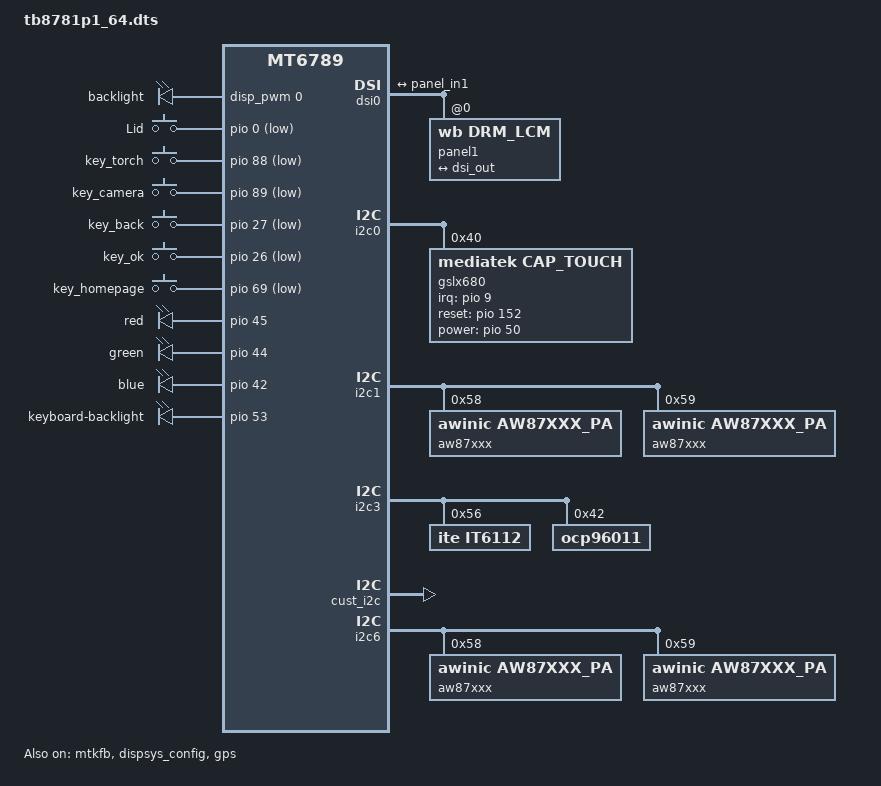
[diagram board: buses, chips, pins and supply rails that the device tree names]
// SPDX-License-Identifier: (GPL-2.0 OR MIT)
/*
 * Copyright (C) 2021 MediaTek Inc.
 */
/dts-v1/;
/plugin/;
#include <dt-bindings/interrupt-controller/arm-gic.h>
#include <dt-bindings/interrupt-controller/irq.h>
#include <dt-bindings/pinctrl/mt6789-pinfunc.h>
#include "mediatek/M307TBUR100/cust_mt6789_camera.dtsi"
#include <dt-bindings/gpio/gpio.h>
#include <dt-bindings/input/input.h>
#include <generated/wb_config.h>
#include <generated/autoconf.h>
#include "mediatek/bat_setting/wb_mt6789_battery_common.dtsi"
#include "mediatek/lcd/1_wb_lcd_panel_list.dtsi"

&chosen {
};

&android {
	hardware = "mt8781";
};

&mtk_leds {
	compatible = "mediatek,pwm-leds";

	backlight {
		led_mode = <5>;
		gate_enable = <1>;
        pwms = <&disp_pwm 0 39385>;
		pwm_config = <0 1 0 0 0>;
	};
};

&pio {
	mtkfb_pins_lcd_bias_enp1: lcd_bias_enp1_gpio {
		pins_cmd_dat {
			pinmux = <PINMUX_GPIO38__FUNC_GPIO38>;
			slew-rate = <1>;
			output-high;
		};
	};

	mtkfb_pins_lcd_bias_enp0: lcd_bias_enp0_gpio {
		pins_cmd_dat {
			pinmux = <PINMUX_GPIO38__FUNC_GPIO38>;
			slew-rate = <1>;
			output-low;
		};
	};

	mtkfb_pins_lcd_bias_enn1: lcd_bias_enn1_gpio {
		pins_cmd_dat {
			pinmux = <PINMUX_GPIO39__FUNC_GPIO39>;
			slew-rate = <1>;
			output-high;
		};
	};

	mtkfb_pins_lcd_bias_enn0: lcd_bias_enn0_gpio {
		pins_cmd_dat {
			pinmux = <PINMUX_GPIO39__FUNC_GPIO39>;
			slew-rate = <1>;
			output-low;
		};
	};

	mtkfb_pins_lcm_led_en1: lcm_led_en1_gpio {
		pins_cmd_dat {
			pinmux = <PINMUX_GPIO12__FUNC_GPIO12>;
			slew-rate = <1>;
			output-high;
		};
	};

	mtkfb_pins_lcm_led_en0: lcm_led_en0_gpio {
		pins_cmd_dat {
			pinmux = <PINMUX_GPIO12__FUNC_GPIO12>;
			slew-rate = <1>;
			output-low;
		};
	};

	mtkfb_pins_lcm_rst_out1_gpio: lcm_rst_out1_gpio {
		pins_cmd_dat {
			pinmux = <PINMUX_GPIO85__FUNC_GPIO85>;
			slew-rate = <1>;
			output-high;
		};
	};

	mtkfb_pins_lcm_rst_out0_gpio: lcm_rst_out0_gpio {
		pins_cmd_dat {
			pinmux = <PINMUX_GPIO85__FUNC_GPIO85>;
			slew-rate = <1>;
			output-low;
		};
	};
	mtkfb_pins_lcm_dsi_te: lcm_dsi_te {
		pins_cmd_dat {
			pinmux = <PINMUX_GPIO83__FUNC_DSI_TE>;
		};
	};
	mtkfb_pins_lcd_pwr_1v8_en: lcd_pwr_1v8_en_gpio {
		pins_cmd_dat {
			pinmux = <PINMUX_GPIO52__FUNC_GPIO52>;
		};
	};
	mtkfb_pins_lcd_pwr_3v3_en: lcd_pwr_3v3_en_gpio {
		/*pins_cmd_dat {
			pinmux = <PINMUX_GPIO51__FUNC_GPIO51>;
		};*/
	};    

	mtkfb_pins_tp_rst_gpio: tp_rst_gpio {
		pins_cmd_dat {
			pinmux = <PINMUX_GPIO152__FUNC_GPIO152>;
		};
	};    
};

&mtkfb {
	pinctrl-names = "lcd_bias_enp1_gpio", "lcd_bias_enp0_gpio",
		"lcd_bias_enn1_gpio", "lcd_bias_enn0_gpio",
        	"lcm_led_en1_gpio", "lcm_led_en0_gpio",
		"lcm_rst_out1_gpio", "lcm_rst_out0_gpio",
		"mode_te_te","lcd_pwr_1v8_en_gpio","lcd_pwr_3v3_en_gpio",
        	"tp_rst_gpio";
	pinctrl-0 = <&mtkfb_pins_lcd_bias_enp1>;
	pinctrl-1 = <&mtkfb_pins_lcd_bias_enp0>;
	pinctrl-2 = <&mtkfb_pins_lcd_bias_enn1>;
	pinctrl-3 = <&mtkfb_pins_lcd_bias_enn0>;        
	pinctrl-4 = <&mtkfb_pins_lcm_led_en1>;
	pinctrl-5 = <&mtkfb_pins_lcm_led_en0>;
	pinctrl-6 = <&mtkfb_pins_lcm_rst_out1_gpio>;
	pinctrl-7 = <&mtkfb_pins_lcm_rst_out0_gpio>;
	pinctrl-8 = <&mtkfb_pins_lcm_dsi_te>;
	pinctrl-9 = <&mtkfb_pins_lcd_pwr_1v8_en>;
	pinctrl-10 = <&mtkfb_pins_lcd_pwr_3v3_en>;
	pinctrl-11 = <&mtkfb_pins_tp_rst_gpio>;
	status = "okay";
};

&dispsys_config {
	pinctrl-names =
		"lcm_rst_out1_gpio", "lcm_rst_out0_gpio",
		"mode_te_te";
	pinctrl-0 = <&mtkfb_pins_lcm_rst_out1_gpio>;
	pinctrl-1 = <&mtkfb_pins_lcm_rst_out0_gpio>;
	pinctrl-2 = <&mtkfb_pins_lcm_dsi_te>;
	status = "okay";
};

&dsi0 {
	status = "okay";
	#address-cells = <1>;
	#size-cells = <0>;
	panel1@0 {
		compatible = "wb,drm_lcm";
		reg = <0>;
		pinctrl-names = "default";
		//rotation = <90>;
		port {
			panel_in1: endpoint {
				remote-endpoint = <&dsi_out>;
			};
		};
	};
	
	ports {
		port {
			dsi_out: endpoint {
				remote-endpoint = <&panel_in1>;
			};
		};
	};
};

&odm {
	gpio_keys: gpio-keys{
		compatible = "gpio-keys";
		bootmode = <&chosen>;
		lid {
			label = "Lid";
			gpios = <&pio 0 GPIO_ACTIVE_LOW>;
			linux,code = <SW_LID>;
			linux,input-type = <EV_SW>;
			gpio-key,wakeup;
		};

		torch {
			label = "key_torch";
			gpios = <&pio 88 GPIO_ACTIVE_LOW>;
			linux,code = <KEY_F1>;
			linux,input-type = <EV_KEY>;
			gpio-key,wakeup;
		};
		camera {
			label = "key_camera";
			gpios = <&pio 89 GPIO_ACTIVE_LOW>;
			linux,code = <KEY_CAMERA>;
			linux,input-type = <EV_KEY>;
			gpio-key,wakeup;
		};
		back {
			label = "key_back";
			gpios = <&pio 27 GPIO_ACTIVE_LOW>;
			linux,code = <KEY_BACK>;
			linux,input-type = <EV_KEY>;
			gpio-key,wakeup;
		};
		ok {
			label = "key_ok";
			gpios = <&pio 26 GPIO_ACTIVE_LOW>;
			linux,code = <KEY_ENTER>;
			linux,input-type = <EV_KEY>;
			gpio-key,wakeup;
		};

		homepage {
			label = "key_homepage";
			gpios = <&pio 69 GPIO_ACTIVE_LOW>;
			linux,code = <KEY_HOMEPAGE>;
			linux,input-type = <EV_KEY>;
			debounce-interval = <0>;
			gpio-key,wakeup;
		};

	};
};

/* GPS GPIO standardization start */
&pio {
	gps_pins_default: gps_default {
	};
	gps_l1_lna_pins_ol: gps_l1_lna@0 {
		pins_cmd_dat {
			pinmux = <PINMUX_GPIO25__FUNC_GPIO25>;
			output-low;
		};
	};
	gps_l1_lna_pins_dsp_ctrl: gps_l1_lna@1 {
		pins_cmd_dat {
			pinmux = <PINMUX_GPIO25__FUNC_GPS_L1_ELNA_EN>;
		};
	};
	gps_l1_lna_pins_oh: gps_l1_lna@2 {
		pins_cmd_dat {
			pinmux = <PINMUX_GPIO25__FUNC_GPIO25>;
			output-high;
		};
	};
	gps_l5_lna_pins_ol: gps_l5_lna@0 {
		pins_cmd_dat {
			pinmux = <PINMUX_GPIO26__FUNC_GPIO26>;
			output-low;
		};
	};
	gps_l5_lna_pins_dsp_ctrl: gps_l5_lna@1 {
		pins_cmd_dat {
			pinmux = <PINMUX_GPIO26__FUNC_GPS_L5_ELNA_EN>;
		};
	};
	gps_l5_lna_pins_oh: gps_l5_lna@2 {
		pins_cmd_dat {
			pinmux = <PINMUX_GPIO26__FUNC_GPIO26>;
			output-high;
		};
	};
};

&extcon_usb {
	pinctrl-names = "default";
	pinctrl-0 = <&docking_eint_default>;
	docking_eint_gpio = <&pio 10 0x0>;
	interrupt-parent = <&pio>;
	interrupts = <10 IRQ_TYPE_LEVEL_LOW 10 0>;
	charger = <&upm6920_chg>;
	id-gpios = <&pio 43 0x0>;
};

&pio {
	docking_eint_default: docking_eint_default {
		pins_cmd_dat {
			pinmux = <PINMUX_GPIO10__FUNC_GPIO10>;
			slew-rate = <0>;
			bias-pull-up;
		};
	};
};

&cust_gpios {
	compatible = "cust,cust_gpios";
	gpio_it6112_en = <&pio 37 0>;
	gpio_bias_pos = <&pio 34 0>;
	gpio_bias_neg = <&pio 35 0>;
	gpio_lcm_1v8 = <&pio 52 0>;
	gpio_lcm_3v3 = <&pio 51 0>;
	gpio_lcm_rst = <&pio 85 0>;
	//gpio_tp_rst  = <&pio 152 0>;
	gpio_typec_otg_en   = <&pio 97 0>;
	gpio_otg_5v_en      = <&pio 36 0>;
	//gpio_docking_en     = <&pio 34 0>;
	gpio_usb_switch     = <&pio 47 0>;
	gpio_cutoff_vbus = <&pio 49 0>;
	//gpio_auhpr_spk_sw   = <&pio 15 0>;
	//gpio_usb_hp_sw      = <&pio 53 0>;
	status = "okay";
};

&gps {
	pinctrl-names = "default",
		"gps_l1_lna_disable",
		"gps_l1_lna_dsp_ctrl",
		"gps_l1_lna_enable",
		"gps_l5_lna_disable",
		"gps_l5_lna_dsp_ctrl",
		"gps_l5_lna_enable";
	pinctrl-0 = <&gps_pins_default>;
	pinctrl-1 = <&gps_l1_lna_pins_ol>;
	pinctrl-2 = <&gps_l1_lna_pins_dsp_ctrl>;
	pinctrl-3 = <&gps_l1_lna_pins_oh>;
	pinctrl-4 = <&gps_l5_lna_pins_ol>;
	pinctrl-5 = <&gps_l5_lna_pins_dsp_ctrl>;
	pinctrl-6 = <&gps_l5_lna_pins_oh>;
	status = "okay";
};
/* GPS GPIO standardization end */

//#include "mediatek/M307TBUR100/gt9xx_dts.dtsi"
&i2c0 {
	//focaltech@38{ 
	//    pinctrl-names = "i2c0_pull_down", "i2c0_pull_up";
	//    pinctrl-0 = <&i2c0_pull_down_ctrl>;
	//    pinctrl-1 = <&i2c0_pull_up_ctrl>;
	//    compatible = "focaltech,fts";
	//    reg = <0x38>;
	//    interrupt-parent = <&pio>;
	//    interrupts = <9 IRQ_TYPE_EDGE_FALLING 9 0>;
	//    focaltech,reset-gpio = <&pio 152 0>; 
	//    focaltech,irq-gpio = <&pio 9 IRQ_TYPE_EDGE_FALLING>;
	//    focaltech,max-touch-number = <10>;
	//    focaltech,display-coords =  <0 0 1200 2000>;
	//};
	//
	//jadard@68{
	//    compatible = "jadard,jdcommon";
	//    reg = <0x68>;
	//    interrupt-parent = <&pio>;
	//    interrupts = <9 IRQ_TYPE_EDGE_FALLING 9 0>;
	//    jadard,panel-sense-nums = <30 48>;
	//    jadard,panel-coords = <0 1200 0 2000>;
	//    jadard,panel-max-points = <10>;
	//    jadard,int-is-edge = <1>;
	//    jadard,irq-gpio = <&pio 9 0>;
	//    jadard,rst-gpio = <&pio 152 0>;
	//};

	gslx680@68{
		compatible = "mediatek,cap_touch";
		reg = <0x40>;
		gsl,irq-gpios = <&pio 9 0>;
		gsl,reset-gpios = <&pio 152 0>;
		gsl,power-gpios = <&pio 50 0>;
	};
#if 0
	himax_ts@48 {
	        compatible = "himax,hxcommon";
	        reg = <0x48>;
	        //himax,3v3-gpio = <&pio 174 0>;
	        himax,rst-gpio = <&pio 152 0>;
	        himax,irq-gpio = <&pio 9 0>;
	        himax,panel-coords = <0 1200 0 2000>;
	        himax,display-coords = <0 1200 0 2000>;
	        report_type = <1>;
	};
#endif
	//lt8911exb@25 {
	//    compatible = "mediatek,lt8911exb_com";
	//    reg = <0x25>;
	//    status = "okay";
	//};
	//
	//chipone_tddi_i2c@48 {
	//   compatible = "chipone,cts";
	//   reg = <0x48>;
	//   status = "ok";
	//   chipone,rst-gpio = <&pio 152 0x00>;
	//   chipone,irq-gpio = <&pio 9 0x00>;
	//   chipone,x-res = <1200>;
	//   chipone,y-res = <1920>;
	//};

};

&pio {
    i2c0_pull_down_ctrl: i2c0_pull_down_ctrl {
    pins_cmd_dat {
            pinmux = <PINMUX_GPIO130__FUNC_SCL0>,
                        <PINMUX_GPIO131__FUNC_SDA0>;
            slew-rate = <0>;
            bias-pull-down;
        };
    };

    i2c0_pull_up_ctrl: i2c0_pull_up_ctrl {
        pins_cmd_dat {
            pinmux = <PINMUX_GPIO130__FUNC_SCL0>,
                        <PINMUX_GPIO131__FUNC_SDA0>;
            slew-rate = <0>;
            bias-pull-up;
        };
    };
};

&i2c1 {
    aw87xxx@58 {
        compatible = "awinic,aw87xxx_pa";
        reg = <0x58>;
        dev_index = <0>;
        status = "okay";
    }; 
    aw87xxx@59 {
        compatible = "awinic,aw87xxx_pa";
        reg = <0x59>;
        dev_index = <3>;
        status = "okay";
    };
};

&i2c3 {
	it6112@56 {
		compatible = "ite,it6112";
		reg = <0x56>;
		status = "okay";
	};

	ocp96011@42 {
		status = "okay";
		compatible = "ocp96011";
		tcpc = "type_c_port0";
		reg = <0x42>;
	};

	st21nfc: st21nfc@08 {
		compatible = "st,st21nfc";
		reg = <0x08>;
		interrupt-parent = <&pio>;
		interrupts = <4 0>;
		reset-gpios = <&pio 3 0x00>;
		irq-gpios = <&pio 4 0x00>;
		clkreq-gpios = <&pio 68 0x00>;
		status = "disabled";
	};

};

&cust_i2c {
	pinctrl-names = "pull_up", "pull_down";
	pinctrl-0 = <&i2c_pull_up>;
	pinctrl-1 = <&i2c_pull_down>;
	status = "okay";
};

&pio {
	i2c_pull_down: i2c_pull_down {
	pins_cmd_dat {
			pinmux = <PINMUX_GPIO136__FUNC_GPIO136>,
						<PINMUX_GPIO137__FUNC_GPIO137>;
			slew-rate = <1>;
			output-low;
		};
	};

	i2c_pull_up: i2c_pull_up {
		pins_cmd_dat {
			pinmux = <PINMUX_GPIO136__FUNC_SCL3>,
						<PINMUX_GPIO137__FUNC_SDA3>;
			slew-rate = <0>;
			bias-pull-up;
		};
	};
};

&i2c6 {
	/*clock-frequency = <1000000>;*/
	status = "okay";

	aw87xxx@58 {
		compatible = "awinic,aw87xxx_pa";
		reg = <0x58>;
		dev_index = <1>;
		status = "okay";
	}; 
    aw87xxx@59 {
        compatible = "awinic,aw87xxx_pa";
        reg = <0x59>;
        dev_index = <2>;
        status = "okay";
    };
};

&lk_charger{
	max_charger_voltage = <10000000>;
	ac_charger_current = <3600000>;
	ac_charger_input_current = <2000000>;
};

&leds{
	red {
		label = "red";
		gpios = <&pio 45 0x0>;
		default-state = "off";
                retain-state-suspended;
	};

	green {
		label = "green";
		gpios = <&pio 44 0x0>;
		default-state = "off";
                retain-state-suspended;
	};

	blue {
		label = "blue";
		gpios = <&pio 42 0x0>;
		default-state = "off";
                retain-state-suspended;
	};

	keyboard-backlight {
		label = "keyboard-backlight";
		gpios = <&pio 53 0x0>;
		default-state = "off";
		retain-state-suspended;
	};
};
&pd_adapter{
	status = "disabled";
};
&pdc {
	pd_vbus_upper_bound = <9000000>;
	status = "disabled";
};

&pe{
status = "disabled";
};

/*
&pe2 {
status = "disabled";
};
*/

&pe4 {
status = "disabled";
};

&pe45{
status = "disabled";
};
&charger {
	max_charger_voltage = <11000000>;
	charger_configuration = <0>;
	charger_unlimited;
	battery_cv = <4350000>;
	min_charge_temp = <(-15)>;
	min_charge_temp_plus_x_degree = <(-12)>;
	max_charge_temp = <55>;
	max_charge_temp_minus_x_degree = <52>;
	io-channels = <&auxadc 3>;
	io-channel-names = "pmic_vbus";
};

&accdet {
	headset-eint-level-pol = <8>;
};

#include "mediatek/M307TBUR100/aw35615.dtsi"
//#include "mediatek/atouch/m100t_touch_spi.dtsi"
#include <tb8781p1_64/cust.dtsi>
/*End of this file, DO NOT ADD ANYTHING HERE*/
